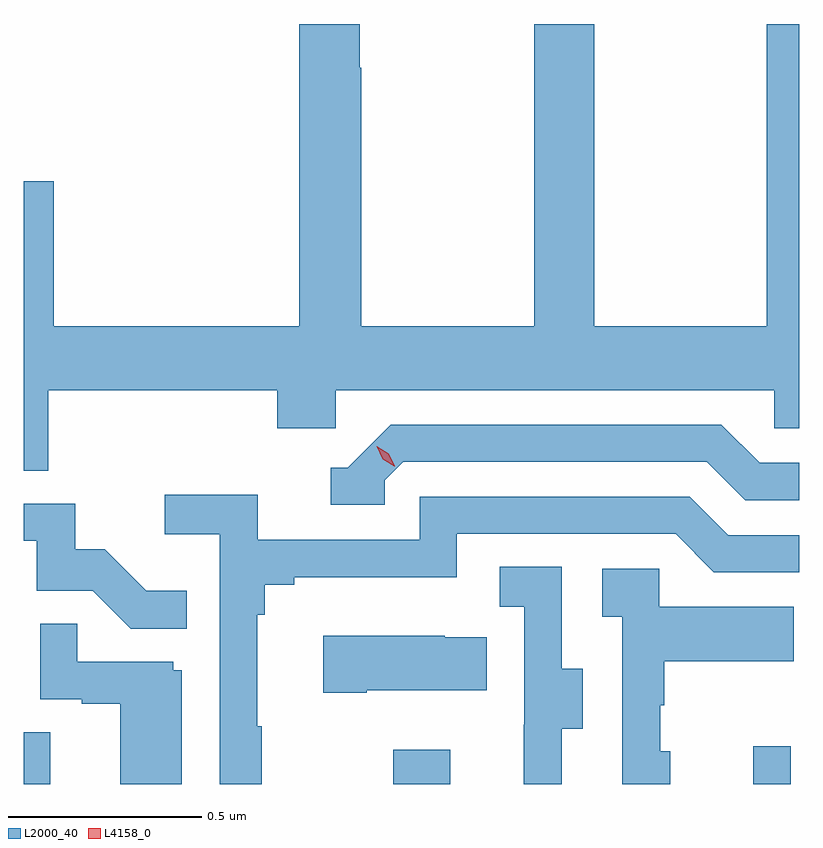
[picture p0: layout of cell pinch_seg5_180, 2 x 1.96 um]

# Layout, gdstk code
import gdstk
lib = gdstk.Library(unit=1e-6, precision=1e-09)
def R(c, l, rs):  # rectangles x0, y0, x1, y1
    for r in rs: c.add(gdstk.rectangle(r[:2], r[2:], *l))
def P(c, l, *ps):  # polygons
    for p in ps: c.add(gdstk.Polygon(p, *l))
L2000_40 = (2000, 40)
L4158_0 = (4158, 0)

pinch_seg5_180 = lib.new_cell('pinch_seg5_180')
R(pinch_seg5_180, L2000_40, [(1142.117,889.044,1142.185,889.178), (1143.07,889.044,1143.217,889.132), (1143.998,889.044,1144.095,889.141)])
P(pinch_seg5_180, L2000_40, [(1142.18,890.06),(1142.771,890.06),(1142.771,889.962),(1142.922,889.962),(1142.922,890.06),(1144.053,890.06),(1144.053,889.962),(1144.117,889.962),(1144.117,891.004),(1144.033,891.004),(1144.033,890.224),(1143.588,890.224),(1143.588,891.004),(1143.433,891.004),(1143.433,890.224),(1142.988,890.224),(1142.988,890.891),(1142.983,890.891),(1142.983,891.004),(1142.828,891.004),(1142.828,890.224),(1142.194,890.224),(1142.194,890.599),(1142.117,890.599),(1142.117,889.852),(1142.18,889.852)],
  [(1143.048,889.827),(1143.096,889.875),(1143.879,889.875),(1143.978,889.776),(1144.117,889.776),(1144.117,889.872),(1144.015,889.872),(1143.916,889.971),(1143.063,889.971),(1142.952,889.86),(1142.909,889.86),(1142.909,889.764),(1143.048,889.764)],
  [(1142.731,889.193),(1142.719,889.193),(1142.719,889.481),(1142.738,889.481),(1142.738,889.558),(1142.815,889.558),(1142.815,889.577),(1143.234,889.577),(1143.234,889.689),(1143.798,889.689),(1143.897,889.59),(1144.117,889.59),(1144.117,889.686),(1143.934,889.686),(1143.835,889.785),(1143.138,889.785),(1143.138,889.674),(1142.72,889.674),(1142.72,889.79),(1142.481,889.79),(1142.481,889.688),(1142.622,889.688),(1142.622,889.044),(1142.731,889.044)],
  [(1142.537,889.543),(1142.433,889.543),(1142.326,889.65),(1142.25,889.65),(1142.25,889.767),(1142.117,889.767),(1142.117,889.671),(1142.151,889.671),(1142.151,889.542),(1142.295,889.542),(1142.393,889.444),(1142.537,889.444)],
  [(1143.505,889.186),(1143.559,889.186),(1143.559,889.341),(1143.504,889.341),(1143.504,889.604),(1143.345,889.604),(1143.345,889.501),(1143.408,889.501),(1143.408,889.197),(1143.407,889.197),(1143.407,889.044),(1143.505,889.044)],
  [(1143.784,889.128),(1143.759,889.128),(1143.759,889.247),(1143.769,889.247),(1143.769,889.361),(1144.103,889.361),(1144.103,889.501),(1143.756,889.501),(1143.756,889.599),(1143.609,889.599),(1143.609,889.475),(1143.66,889.475),(1143.66,889.044),(1143.784,889.044)],
  [(1142.524,889.338),(1142.502,889.338),(1142.502,889.359),(1142.255,889.359),(1142.255,889.457),(1142.16,889.457),(1142.16,889.263),(1142.267,889.263),(1142.267,889.251),(1142.366,889.251),(1142.366,889.044),(1142.524,889.044)],
  [(1143.001,889.286),(1143.311,889.286),(1143.311,889.423),(1143.203,889.423),(1143.203,889.426),(1142.889,889.426),(1142.889,889.279),(1143.001,889.279)])
P(pinch_seg5_180, L4158_0, [(1143.073,889.863),(1143.043,889.882),(1143.027,889.915),(1143.027,889.915),(1143.027,889.915),(1143.058,889.896),(1143.074,889.863),(1143.074,889.863)])

lib.write_gds('pinch_seg5_180.gds')
